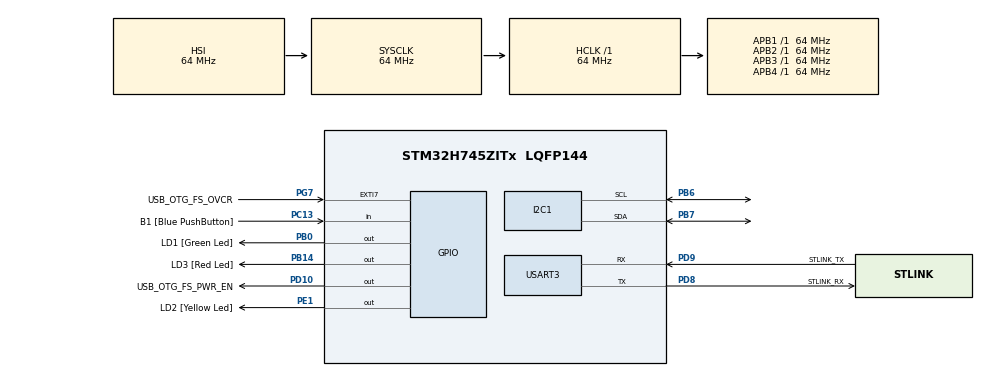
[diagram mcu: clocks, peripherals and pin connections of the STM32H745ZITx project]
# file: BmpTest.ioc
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CortexM4.IPs=FATFS_M4\:I,FREERTOS_M4\:I,IWDG2\:I,RCC,WWDG2\:I,DMA,BDMA,MDMA,NVIC2\:I,USART3,ETH,DEBUG,PDM2PCM_M4\:I,PWR,RESMGR_UTILITY,SYS_M4\:I,USB_DEVICE_M4\:I,USB_HOST_M4\:I,CORTEX_M4\:I,OPENAMP_M4\:I,VREFBUF
CortexM7.IPs=FATFS_M7\:I,FREERTOS_M7\:I,IWDG1\:I,RCC\:I,WWDG1\:I,DMA\:I,BDMA\:I,MDMA\:I,NVIC1\:I,SYS\:I,USART3\:I,USB_OTG_FS\:I,ETH\:I,CORTEX_M7\:I,DEBUG\:I,PDM2PCM_M7\:I,PWR\:I,RESMGR_UTILITY\:I,USB_DEVICE_M7\:I,USB_HOST_M7\:I,OPENAMP_M7\:I,VREFBUF\:I,I2C1\:I
Mcu.Family=STM32H7
Mcu.Name=STM32H745ZITx
Mcu.Package=LQFP144
NVIC1.PriorityGroup=NVIC_PRIORITYGROUP_4
NVIC2.PriorityGroup=NVIC_PRIORITYGROUP_4
PA1.PinAttribute=CortexM7
PA1.Signal=ETH_REF_CLK
PA11.PinAttribute=CortexM7
PA11.Signal=USB_OTG_FS_DM
PA12.PinAttribute=CortexM7
PA12.Signal=USB_OTG_FS_DP
PA2.PinAttribute=CortexM7
PA2.Signal=ETH_MDIO
PA7.PinAttribute=CortexM7
PA7.Signal=ETH_CRS_DV
PA8.PinAttribute=CortexM7
PA8.Signal=USB_OTG_FS_SOF
PA9.PinAttribute=CortexM7
PA9.Signal=USB_OTG_FS_VBUS
PB0.GPIO_Label=LD1 [Green Led]
PB0.PinAttribute=Free
PB0.Signal=GPIO_Output
PB13.PinAttribute=CortexM7
PB13.Signal=ETH_TXD1
PB14.GPIO_Label=LD3 [Red Led]
PB14.PinAttribute=Free
PB14.Signal=GPIO_Output
PB6.Mode=I2C
PB6.PinAttribute=CortexM7
PB6.Signal=I2C1_SCL
PB7.Mode=I2C
PB7.PinAttribute=CortexM7
PB7.Signal=I2C1_SDA
PC1.PinAttribute=CortexM7
PC1.Signal=ETH_MDC
PC13.GPIO_Label=B1 [Blue PushButton]
PC13.PinAttribute=Free
PC13.Signal=GPIO_Input
PC14-OSC32_IN\ (OSC32_IN).PinAttribute=CortexM7
PC14-OSC32_IN\ (OSC32_IN).Signal=RCC_OSC32_IN
PC15-OSC32_OUT\ (OSC32_OUT).PinAttribute=CortexM7
PC15-OSC32_OUT\ (OSC32_OUT).Signal=RCC_OSC32_OUT
PC4.PinAttribute=CortexM7
PC4.Signal=ETH_RXD0
PC5.PinAttribute=CortexM7
PC5.Signal=ETH_RXD1
PD10.GPIO_Label=USB_OTG_FS_PWR_EN
PD10.PinAttribute=Free
PD10.Signal=GPIO_Output
PD8.GPIO_Label=STLINK_RX
PD8.Mode=Asynchronous
PD8.PinAttribute=CortexM7
PD8.Signal=USART3_TX
PD9.GPIO_Label=STLINK_TX
PD9.Mode=Asynchronous
PD9.PinAttribute=CortexM7
PD9.Signal=USART3_RX
PE1.GPIO_Label=LD2 [Yellow Led]
PE1.PinAttribute=Free
PE1.Signal=GPIO_Output
PG11.PinAttribute=CortexM7
PG11.Signal=ETH_TX_EN
PG13.PinAttribute=CortexM7
PG13.Signal=ETH_TXD0
PG7.GPIO_Label=USB_OTG_FS_OVCR
PG7.PinAttribute=Free
PG7.Signal=GPXTI7
PH0-OSC_IN\ (PH0).PinAttribute=CortexM7
PH0-OSC_IN\ (PH0).Signal=RCC_OSC_IN
PH1-OSC_OUT\ (PH1).PinAttribute=CortexM7
PH1-OSC_OUT\ (PH1).Signal=RCC_OSC_OUT
ProjectManager.HeapSize=0x200
ProjectManager.StackSize=0x400
ProjectManager.TargetToolchain=STM32CubeIDE
RCC.ADCFreq_Value=129000000
RCC.APB1Freq_Value=64000000
RCC.APB2Freq_Value=64000000
RCC.APB3Freq_Value=64000000
RCC.APB4Freq_Value=64000000
RCC.CortexFreq_Value=64000000
RCC.DIVM1=18
RCC.DIVM3=22
RCC.DIVN3=169
RCC.DIVQ3=4
RCC.HCLKFreq_Value=64000000
RCC.PLL2FRACN=0
RCC.PLL3FRACN=0
RCC.PLLFRACN=0
RCC.SYSCLKFreq_VALUE=64000000
RCC.SupplySource=PWR_DIRECT_SMPS_SUPPLY
RCC.USBCLockSelection=RCC_USBCLKSOURCE_PLL3
RCC.USBFreq_Value=122909090.9090909
USART3.VirtualMode-Asynchronous=VM_ASYNC
VP_SYS_M4_VS_Systick.Mode=SysTick
board=NUCLEO-H745ZI-Q

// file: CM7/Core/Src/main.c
/* USER CODE BEGIN Header */
/**
  ******************************************************************************
  * @file           : main.c
  * @brief          : Main program body
  ******************************************************************************
  * @attention
  *
  * <h2><center>&copy; Copyright (c) 2020 STMicroelectronics.
  * All rights reserved.</center></h2>
  *
  * This software component is licensed by ST under BSD 3-Clause license,
  * the "License"; You may not use this file except in compliance with the
  * License. You may obtain a copy of the License at:
  *                        opensource.org/licenses/BSD-3-Clause
  *
  ******************************************************************************
  */
/* USER CODE END Header */
#include "main.h"

/* USER CODE BEGIN Includes */
#include <stdio.h>
#include <string.h>
#include "bmp280.h"
/* USER CODE END Includes */

/* USER CODE BEGIN PTD */
BMP280_HandleTypedef bmp280;

float pressure, temperature, humidity, altitude;

uint16_t size;
uint8_t Data[256];
/* USER CODE END PTD */

/* USER CODE BEGIN PD */

#define HSEM_ID_0 (0U) /* HW semaphore 0*/
/* USER CODE END PD */

I2C_HandleTypeDef hi2c1;

UART_HandleTypeDef huart3;

void SystemClock_Config(void);
static void MX_GPIO_Init(void);
static void MX_I2C1_Init(void);
static void MX_USART3_UART_Init(void);

int main(void)
{

/* USER CODE BEGIN Boot_Mode_Sequence_0 */
  int32_t timeout;
/* USER CODE END Boot_Mode_Sequence_0 */

/* USER CODE BEGIN Boot_Mode_Sequence_1 */
  /* Wait until CPU2 boots and enters in stop mode or timeout*/
  timeout = 0xFFFF;
  while((__HAL_RCC_GET_FLAG(RCC_FLAG_D2CKRDY) != RESET) && (timeout-- > 0));
  if ( timeout < 0 )
  {
  Error_Handler();
  }
/* USER CODE END Boot_Mode_Sequence_1 */
  /* MCU Configuration--------------------------------------------------------*/

  /* Reset of all peripherals, Initializes the Flash interface and the Systick. */
  HAL_Init();

  /* Configure the system clock */
  SystemClock_Config();
/* USER CODE BEGIN Boot_Mode_Sequence_2 */
/* When system initialization is finished, Cortex-M7 will release Cortex-M4 by means of
HSEM notification */
/*HW semaphore Clock enable*/
__HAL_RCC_HSEM_CLK_ENABLE();
/*Take HSEM */
HAL_HSEM_FastTake(HSEM_ID_0);
/*Release HSEM in order to notify the CPU2(CM4)*/
HAL_HSEM_Release(HSEM_ID_0,0);
/* wait until CPU2 wakes up from stop mode */
timeout = 0xFFFF;
while((__HAL_RCC_GET_FLAG(RCC_FLAG_D2CKRDY) == RESET) && (timeout-- > 0));
if ( timeout < 0 )
{
Error_Handler();
}
/* USER CODE END Boot_Mode_Sequence_2 */

  /* Initialize all configured peripherals */
  MX_GPIO_Init();
  MX_I2C1_Init();
  MX_USART3_UART_Init();
  /* USER CODE BEGIN 2 */
  bmp280_init_default_params(&bmp280.params);
  bmp280.addr = BMP280_I2C_ADDRESS_0;
  bmp280.i2c = &hi2c1;

  while (!bmp280_init(&bmp280, &bmp280.params)) {
  		size = sprintf((char *)Data, "BMP280 initialization failed\n");
  		HAL_UART_Transmit(&huart3, Data, size, 1000);
  		HAL_Delay(2000);
  	}
  	bool bme280p = bmp280.id == BME280_CHIP_ID;
  	size = sprintf((char *)Data, "BMP280: found %s\n", bme280p ? "BME280" : "BMP280");
  	HAL_UART_Transmit(&huart3, Data, size, 1000);
  	int filter = 150;
  /* USER CODE END 2 */

  /* Infinite loop */
  /* USER CODE BEGIN WHILE */
  while (1)
  {
	  for(int i = 0; i < filter; i++){
		  while (!bmp280_read_float(&bmp280, &temperature, &pressure, &humidity)) {
			  size = sprintf((char *)Data, "Temperature/pressure reading failed\n");
			  HAL_UART_Transmit(&huart3, Data, size, 1000);
			  HAL_Delay(2000);
		  }

		  altitude += 44330 * (1.0 - pow(pressure/100 / 1013.25, 0.1903));
	  }
	  altitude /= filter;
	  size = sprintf((char *)Data,"%.2f", altitude);
	  altitude = 0;
	  HAL_UART_Transmit(&huart3, Data, size, 1000);
	  if (bme280p) {
		  size = sprintf((char *)Data,", Humidity: %.2f\n", humidity);
		  HAL_UART_Transmit(&huart3, Data, size, 1000);
	  }

	  else {
		  size = sprintf((char *)Data, "\n");
		  HAL_UART_Transmit(&huart3, Data, size, 1000);
	  }
	  HAL_Delay(3);
    /* USER CODE END WHILE */

  }
}

void SystemClock_Config(void)
{
  RCC_OscInitTypeDef RCC_OscInitStruct = {0};
  RCC_ClkInitTypeDef RCC_ClkInitStruct = {0};
  RCC_PeriphCLKInitTypeDef PeriphClkInitStruct = {0};

  /** Supply configuration update enable
  */
  HAL_PWREx_ConfigSupply(PWR_DIRECT_SMPS_SUPPLY);
  /** Configure the main internal regulator output voltage
  */
  __HAL_PWR_VOLTAGESCALING_CONFIG(PWR_REGULATOR_VOLTAGE_SCALE3);

  while(!__HAL_PWR_GET_FLAG(PWR_FLAG_VOSRDY)) {}
  /** Initializes the RCC Oscillators according to the specified parameters
  * in the RCC_OscInitTypeDef structure.
  */
  RCC_OscInitStruct.OscillatorType = RCC_OSCILLATORTYPE_HSI;
  RCC_OscInitStruct.HSIState = RCC_HSI_DIV1;
  RCC_OscInitStruct.HSICalibrationValue = RCC_HSICALIBRATION_DEFAULT;
  RCC_OscInitStruct.PLL.PLLState = RCC_PLL_NONE;
  if (HAL_RCC_OscConfig(&RCC_OscInitStruct) != HAL_OK)
  {
    Error_Handler();
  }
  /** Initializes the CPU, AHB and APB buses clocks
  */
  RCC_ClkInitStruct.ClockType = RCC_CLOCKTYPE_HCLK|RCC_CLOCKTYPE_SYSCLK
                              |RCC_CLOCKTYPE_PCLK1|RCC_CLOCKTYPE_PCLK2
                              |RCC_CLOCKTYPE_D3PCLK1|RCC_CLOCKTYPE_D1PCLK1;
  RCC_ClkInitStruct.SYSCLKSource = RCC_SYSCLKSOURCE_HSI;
  RCC_ClkInitStruct.SYSCLKDivider = RCC_SYSCLK_DIV1;
  RCC_ClkInitStruct.AHBCLKDivider = RCC_HCLK_DIV1;
  RCC_ClkInitStruct.APB3CLKDivider = RCC_APB3_DIV1;
  RCC_ClkInitStruct.APB1CLKDivider = RCC_APB1_DIV1;
  RCC_ClkInitStruct.APB2CLKDivider = RCC_APB2_DIV1;
  RCC_ClkInitStruct.APB4CLKDivider = RCC_APB4_DIV1;

  if (HAL_RCC_ClockConfig(&RCC_ClkInitStruct, FLASH_LATENCY_0) != HAL_OK)
  {
    Error_Handler();
  }
  PeriphClkInitStruct.PeriphClockSelection = RCC_PERIPHCLK_USART3|RCC_PERIPHCLK_I2C1;
  PeriphClkInitStruct.Usart234578ClockSelection = RCC_USART234578CLKSOURCE_D2PCLK1;
  PeriphClkInitStruct.I2c123ClockSelection = RCC_I2C123CLKSOURCE_D2PCLK1;
  if (HAL_RCCEx_PeriphCLKConfig(&PeriphClkInitStruct) != HAL_OK)
  {
    Error_Handler();
  }
}

static void MX_I2C1_Init(void)
{

  hi2c1.Instance = I2C1;
  hi2c1.Init.Timing = 0x10707DBC;
  hi2c1.Init.OwnAddress1 = 0;
  hi2c1.Init.AddressingMode = I2C_ADDRESSINGMODE_7BIT;
  hi2c1.Init.DualAddressMode = I2C_DUALADDRESS_DISABLE;
  hi2c1.Init.OwnAddress2 = 0;
  hi2c1.Init.OwnAddress2Masks = I2C_OA2_NOMASK;
  hi2c1.Init.GeneralCallMode = I2C_GENERALCALL_DISABLE;
  hi2c1.Init.NoStretchMode = I2C_NOSTRETCH_DISABLE;
  if (HAL_I2C_Init(&hi2c1) != HAL_OK)
  {
    Error_Handler();
  }
  /** Configure Analogue filter
  */
  if (HAL_I2CEx_ConfigAnalogFilter(&hi2c1, I2C_ANALOGFILTER_ENABLE) != HAL_OK)
  {
    Error_Handler();
  }
  /** Configure Digital filter
  */
  if (HAL_I2CEx_ConfigDigitalFilter(&hi2c1, 0) != HAL_OK)
  {
    Error_Handler();
  }

}

static void MX_USART3_UART_Init(void)
{

  huart3.Instance = USART3;
  huart3.Init.BaudRate = 115200;
  huart3.Init.WordLength = UART_WORDLENGTH_8B;
  huart3.Init.StopBits = UART_STOPBITS_1;
  huart3.Init.Parity = UART_PARITY_NONE;
  huart3.Init.Mode = UART_MODE_TX_RX;
  huart3.Init.HwFlowCtl = UART_HWCONTROL_NONE;
  huart3.Init.OverSampling = UART_OVERSAMPLING_16;
  huart3.Init.OneBitSampling = UART_ONE_BIT_SAMPLE_DISABLE;
  huart3.Init.ClockPrescaler = UART_PRESCALER_DIV1;
  huart3.AdvancedInit.AdvFeatureInit = UART_ADVFEATURE_NO_INIT;
  if (HAL_UART_Init(&huart3) != HAL_OK)
  {
    Error_Handler();
  }
  if (HAL_UARTEx_SetTxFifoThreshold(&huart3, UART_TXFIFO_THRESHOLD_1_8) != HAL_OK)
  {
    Error_Handler();
  }
  if (HAL_UARTEx_SetRxFifoThreshold(&huart3, UART_RXFIFO_THRESHOLD_1_8) != HAL_OK)
  {
    Error_Handler();
  }
  if (HAL_UARTEx_DisableFifoMode(&huart3) != HAL_OK)
  {
    Error_Handler();
  }

}

static void MX_GPIO_Init(void)
{
  GPIO_InitTypeDef GPIO_InitStruct = {0};

  /* GPIO Ports Clock Enable */
  __HAL_RCC_GPIOC_CLK_ENABLE();
  __HAL_RCC_GPIOH_CLK_ENABLE();
  __HAL_RCC_GPIOA_CLK_ENABLE();
  __HAL_RCC_GPIOB_CLK_ENABLE();
  __HAL_RCC_GPIOD_CLK_ENABLE();
  __HAL_RCC_GPIOG_CLK_ENABLE();

  /*Configure GPIO pins : PC1 PC4 PC5 */
  GPIO_InitStruct.Pin = GPIO_PIN_1|GPIO_PIN_4|GPIO_PIN_5;
  GPIO_InitStruct.Mode = GPIO_MODE_AF_PP;
  GPIO_InitStruct.Pull = GPIO_NOPULL;
  GPIO_InitStruct.Speed = GPIO_SPEED_FREQ_LOW;
  GPIO_InitStruct.Alternate = GPIO_AF11_ETH;
  HAL_GPIO_Init(GPIOC, &GPIO_InitStruct);

  /*Configure GPIO pins : PA1 PA2 PA7 */
  GPIO_InitStruct.Pin = GPIO_PIN_1|GPIO_PIN_2|GPIO_PIN_7;
  GPIO_InitStruct.Mode = GPIO_MODE_AF_PP;
  GPIO_InitStruct.Pull = GPIO_NOPULL;
  GPIO_InitStruct.Speed = GPIO_SPEED_FREQ_LOW;
  GPIO_InitStruct.Alternate = GPIO_AF11_ETH;
  HAL_GPIO_Init(GPIOA, &GPIO_InitStruct);

  /*Configure GPIO pin : PB13 */
  GPIO_InitStruct.Pin = GPIO_PIN_13;
  GPIO_InitStruct.Mode = GPIO_MODE_AF_PP;
  GPIO_InitStruct.Pull = GPIO_NOPULL;
  GPIO_InitStruct.Speed = GPIO_SPEED_FREQ_LOW;
  GPIO_InitStruct.Alternate = GPIO_AF11_ETH;
  HAL_GPIO_Init(GPIOB, &GPIO_InitStruct);

  /*Configure GPIO pins : PA8 PA11 PA12 */
  GPIO_InitStruct.Pin = GPIO_PIN_8|GPIO_PIN_11|GPIO_PIN_12;
  GPIO_InitStruct.Mode = GPIO_MODE_AF_PP;
  GPIO_InitStruct.Pull = GPIO_NOPULL;
  GPIO_InitStruct.Speed = GPIO_SPEED_FREQ_LOW;
  GPIO_InitStruct.Alternate = GPIO_AF10_OTG1_FS;
  HAL_GPIO_Init(GPIOA, &GPIO_InitStruct);

  /*Configure GPIO pins : PG11 PG13 */
  GPIO_InitStruct.Pin = GPIO_PIN_11|GPIO_PIN_13;
  GPIO_InitStruct.Mode = GPIO_MODE_AF_PP;
  GPIO_InitStruct.Pull = GPIO_NOPULL;
  GPIO_InitStruct.Speed = GPIO_SPEED_FREQ_LOW;
  GPIO_InitStruct.Alternate = GPIO_AF11_ETH;
  HAL_GPIO_Init(GPIOG, &GPIO_InitStruct);

}

void Error_Handler(void)
{
}

/************************ (C) COPYRIGHT STMicroelectronics *****END OF FILE****/
